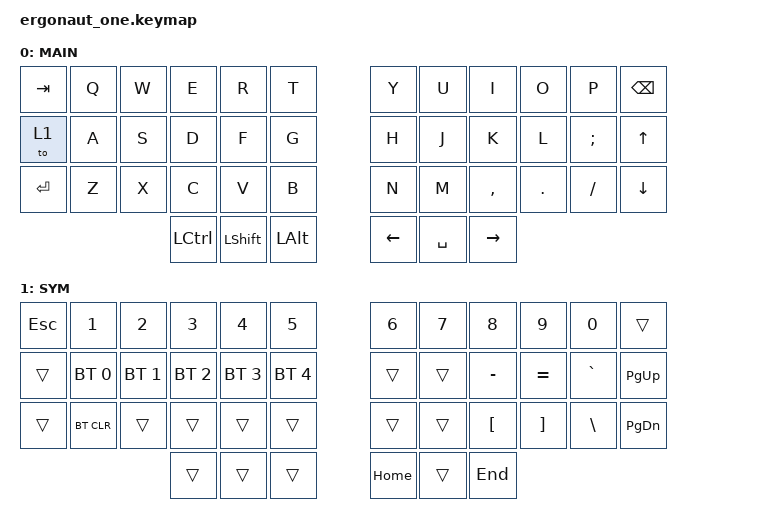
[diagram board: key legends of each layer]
#include <behaviors.dtsi>
#include <dt-bindings/zmk/bt.h>
#include <dt-bindings/zmk/keys.h>

#define DEF 0
#define LWR 1
#define RSE 2
#define ADJ 3

&lt { quick-tap-ms = <200>; };

&mt { quick-tap-ms = <200>; };

/ {
    conditional_layers {
        compatible = "zmk,conditional-layers";

        tri-layer {
            if-layers = <1 2>;
            then-layer = <2>;
        };
    };

    keymap {
        compatible = "zmk,keymap";

        default_layer {
            display-name = "MAIN";
            bindings = <
&kp TAB    &kp Q  &kp W  &kp E      &kp R      &kp T         &kp Y     &kp U      &kp I      &kp O    &kp P     &kp BACKSPACE
&to 1      &kp A  &kp S  &kp D      &kp F      &kp G         &kp H     &kp J      &kp K      &kp L    &kp SEMI  &kp UP_ARROW
&kp ENTER  &kp Z  &kp X  &kp C      &kp V      &kp B         &kp N     &kp M      &kp COMMA  &kp DOT  &kp FSLH  &kp DOWN_ARROW
                         &kp LCTRL  &kp LSHFT  &kp LEFT_ALT  &kp LEFT  &kp SPACE  &kp RIGHT
            >;
        };

        lower_layer {
            display-name = "SYM";
            bindings = <
&kp ESC  &kp N1        &kp N2        &kp N3        &kp N4        &kp N5        &kp N6    &kp N7  &kp N8     &kp N9     &kp N0     &trans
&trans   &bt BT_SEL 0  &bt BT_SEL 1  &bt BT_SEL 2  &bt BT_SEL 3  &bt BT_SEL 4  &trans    &trans  &kp MINUS  &kp EQUAL  &kp GRAVE  &kp PAGE_UP
&trans   &bt BT_CLR    &trans        &trans        &trans        &trans        &trans    &trans  &kp LBKT   &kp RBKT   &kp BSLH   &kp PAGE_DOWN
                                     &trans        &trans        &trans        &kp HOME  &trans  &kp END
            >;
        };
    };
};
